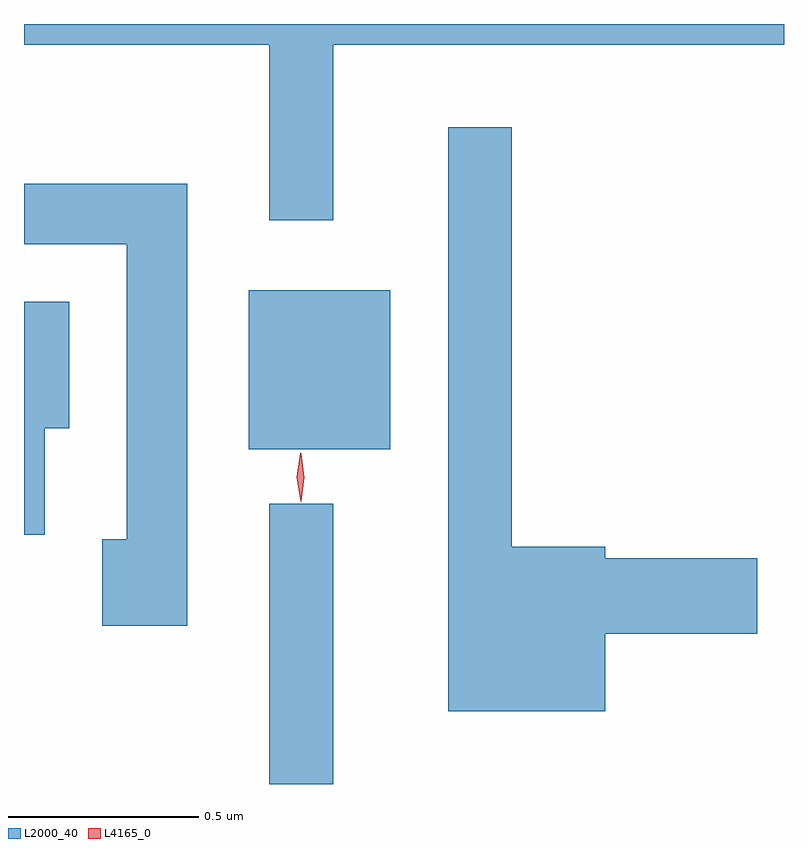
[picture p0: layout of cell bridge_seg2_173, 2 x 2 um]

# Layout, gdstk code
import gdstk
lib = gdstk.Library(unit=1e-6, precision=1e-09)
def R(c, l, rs):  # rectangles x0, y0, x1, y1
    for r in rs: c.add(gdstk.rectangle(r[:2], r[2:], *l))
def P(c, l, *ps):  # polygons
    for p in ps: c.add(gdstk.Polygon(p, *l))
L2000_40 = (2000, 40)
L4165_0 = (4165, 0)

bridge_seg2_173 = lib.new_cell('bridge_seg2_173')
R(bridge_seg2_173, L2000_40, [(822.151,1084.11,822.319,1084.848), (822.096,1084.991,822.469,1085.409)])
P(bridge_seg2_173, L2000_40, [(822.319,1086.056),(823.505,1086.056),(823.505,1086.11),(821.505,1086.11),(821.505,1086.056),(822.151,1086.056),(822.151,1085.593),(822.319,1085.593)],
  [(823.034,1084.506),(823.434,1084.506),(823.434,1084.704),(823.034,1084.704),(823.034,1084.734),(822.789,1084.734),(822.789,1085.838),(822.621,1085.838),(822.621,1084.301),(823.034,1084.301)],
  [(821.934,1085.689),(821.505,1085.689),(821.505,1085.531),(821.776,1085.531),(821.776,1084.754),(821.711,1084.754),(821.711,1084.526),(821.934,1084.526)],
  [(821.559,1085.046),(821.624,1085.046),(821.624,1085.379),(821.505,1085.379),(821.505,1084.766),(821.559,1084.766)])
P(bridge_seg2_173, L4165_0, [(822.233,1084.853),(822.223,1084.917),(822.232,1084.981),(822.233,1084.982),(822.234,1084.981),(822.243,1084.917),(822.234,1084.853),(822.234,1084.853)])

lib.write_gds('bridge_seg2_173.gds')
